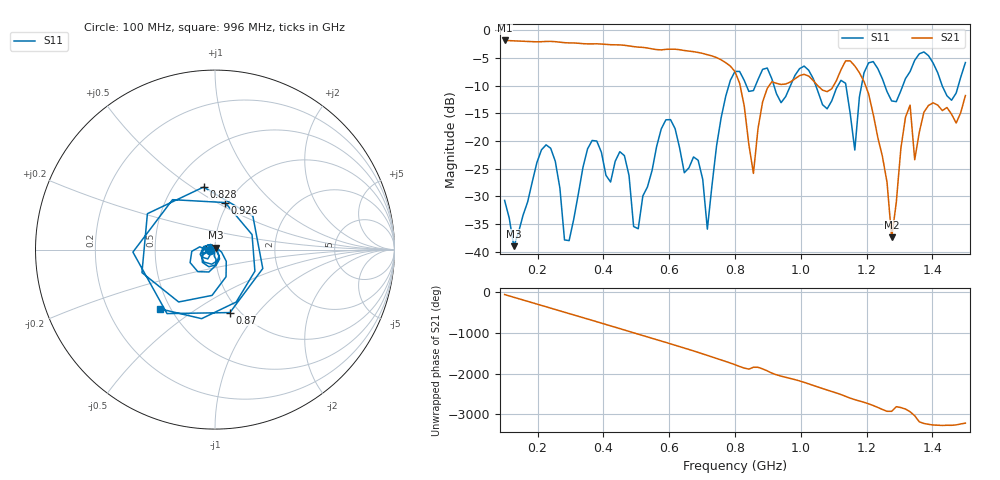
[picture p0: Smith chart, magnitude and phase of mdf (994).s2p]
! NanoVNA-App
! Date: 2025-09-25 15:46:09
! Start: 100MHz Stop: 1,5GHz Points: 101
! S-Parameter data: F S11 S21 S12 S22
# Hz S RI R 50
!  Frequency  S11_Real  S11_Imag  S21_Real  S21_Imag  S12_Real  S12_Imag  S22_Real  S22_Imag
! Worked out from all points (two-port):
!   101 points, 100 MHz to 1.5 GHz, reference 50 ohm
!   highest |S21| = -1.80 dB at 100 MHz (marker M1); lowest = -37.4 dB at 1.276 GHz (marker M2)
!   |S21| within 3 dB of the highest: start of sweep to 739.5 MHz
!   lowest |S11| = -39.0 dB at 128 MHz (marker M3), VSWR 1.02, Z = 50.3 + j1.08 ohm
!   |S11| at or under -10 dB: start of sweep to 781 MHz; 918.5 MHz to 968.2 MHz (49.71 MHz wide, 5.27 % of centre); 1.046 GHz to 1.112 GHz (66.78 MHz wide, 6.19 % of centre) (the widest 3 of 7)
!   S12 and S22 are empty: the file has one direction only
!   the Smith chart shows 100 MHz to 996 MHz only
!   S11 on the Smith chart (normalised r, x): 100 MHz: 0.94, -0.01; 828 MHz: 0.70, +0.56; 870 MHz: 0.90, -0.73; 926 MHz: 0.97, +0.55; 996 MHz: 0.44, -0.36
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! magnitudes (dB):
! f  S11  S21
! 100 MHz  -30.7  -1.8
! 128 MHz  -39.0  -1.9
! 212 MHz  -21.6  -2.0
! 282 MHz  -37.9  -2.2
! 338 MHz  -24.8  -2.4
! 464 MHz  -22.6  -2.7
! 506 MHz  -35.8  -3.0
! 576 MHz  -17.8  -3.5
! 716 MHz  -35.9  -4.4
! 800 MHz  -7.4  -7.4
! 828 MHz  -9.0  -13.6
! 856 MHz  -10.9  -25.8
! 870 MHz  -8.9  -17.7
! 926 MHz  -11.4  -9.6
! 996 MHz  -6.9  -8.2
! 1.038 GHz  -8.7  -9.1
! 1.164 GHz  -21.6  -6.4
! 1.192 GHz  -7.6  -9.2
! 1.276 GHz  -12.7  -37.4
! 1.332 GHz  -7.4  -13.5
! 1.346 GHz  -5.4  -23.4
! 1.5 GHz  -5.8  -11.8
